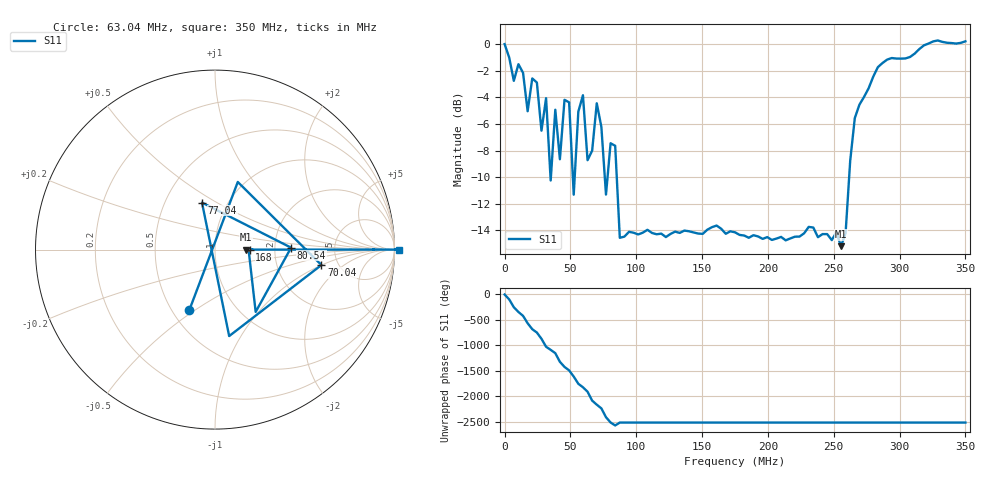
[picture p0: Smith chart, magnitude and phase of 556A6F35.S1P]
!File created by NanoVNA
# Hz S RI R 50
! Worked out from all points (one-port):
!   101 points, 50 kHz to 350 MHz, reference 50 ohm
!   lowest |S11| = -15.2 dB at 255.5 MHz (marker M1), VSWR 1.42, Z = 71.1 + j0 ohm
!   |S11| at or under -10 dB: 34.9 MHz to 35.21 MHz (310.8 kHz wide, 0.886 % of centre); 51.88 MHz to 53.28 MHz (1.405 MHz wide, 2.67 % of centre); 85.23 MHz to 261.7 MHz (176.5 MHz wide, 102 % of centre) (the widest 3 of 4)
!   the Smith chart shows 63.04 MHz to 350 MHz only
!   S11 on the Smith chart (normalised r, x): 63.04 MHz: 0.61, -0.47; 70.04 MHz: 3.70, -0.99; 77.04 MHz: 0.76, +0.43; 80.54 MHz: 2.47, +0.07; 168 MHz: 1.48, +0.00; 350 MHz: -84, -0
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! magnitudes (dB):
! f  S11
! 50 kHz  0.0
! 17.55 MHz  -5.0
! 24.55 MHz  -2.9
! 28.05 MHz  -6.5
! 31.55 MHz  -4.1
! 35.05 MHz  -10.3
! 38.54 MHz  -4.9
! 42.04 MHz  -8.7
! 45.54 MHz  -4.2
! 49.04 MHz  -4.4
! 52.54 MHz  -11.3
! 56.04 MHz  -5.1
! 59.54 MHz  -3.8
! 63.04 MHz  -8.7
! 70.04 MHz  -4.4
! 77.04 MHz  -11.3
! 80.54 MHz  -7.5
! 84.04 MHz  -7.6
! 87.54 MHz  -14.6
! 133 MHz  -14.2
! 168 MHz  -14.3
! 175 MHz  -14.1
! 220.5 MHz  -14.5
! 255.5 MHz  -15.2
! 262.5 MHz  -8.8
! 283.5 MHz  -1.7
! 308 MHz  -1.0
! 350 MHz  0.2
